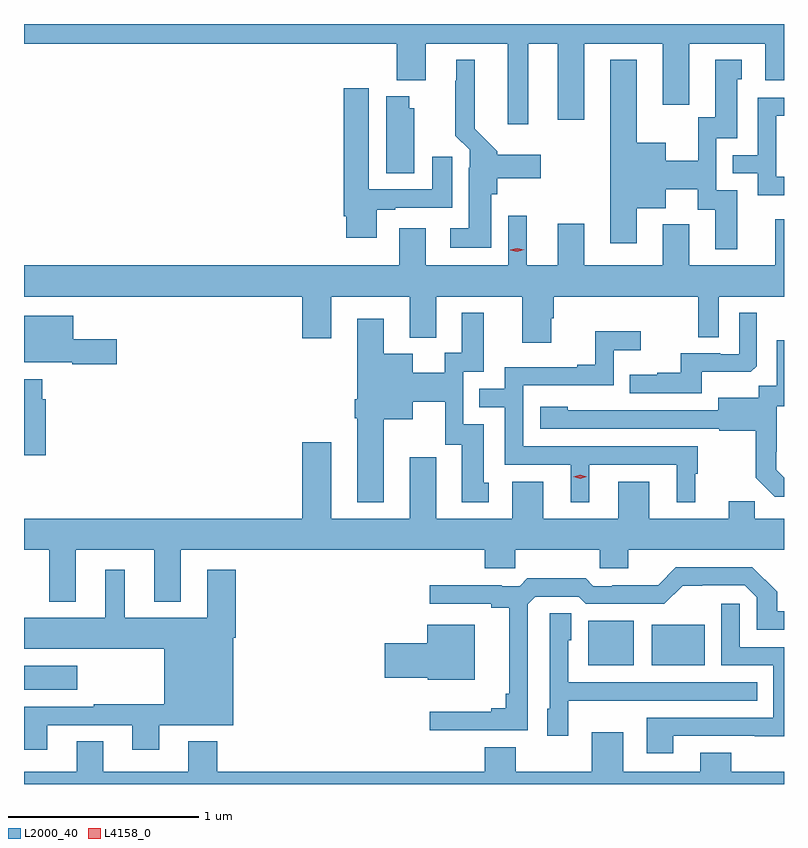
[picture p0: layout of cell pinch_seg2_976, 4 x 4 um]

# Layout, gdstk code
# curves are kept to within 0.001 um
import gdstk
lib = gdstk.Library(unit=1e-6, precision=1e-09)
def R(c, l, rs):  # rectangles x0, y0, x1, y1
    for r in rs: c.add(gdstk.rectangle(r[:2], r[2:], *l))
def P(c, l, *ps):  # polygons
    for p in ps: c.add(gdstk.Polygon(p, *l))
L2000_40 = (2000, 40)
L4158_0 = (4158, 0)

pinch_seg2_976 = lib.new_cell('pinch_seg2_976')
R(pinch_seg2_976, L2000_40, [(133.93,649.562,134.209,649.69), (136.901,649.691,137.14,649.927), (137.234,649.691,137.512,649.906)])
P(pinch_seg2_976, L2000_40, [(137.291,652.641),(137.431,652.641),(137.431,652.964),(137.831,652.964),(137.831,652.77),(137.93,652.77),(137.93,653.067),(133.93,653.067),(133.93,652.964),(135.893,652.964),(135.893,652.772),(136.045,652.772),(136.045,652.964),(136.475,652.964),(136.475,652.539),(136.585,652.539),(136.585,652.964),(136.739,652.964),(136.739,652.563),(136.879,652.563),(136.879,652.964),(137.291,652.964)],
  [(137.683,652.191),(137.574,652.191),(137.574,652.467),(137.683,652.467),(137.683,652.776),(137.707,652.776),(137.707,652.879),(137.567,652.879),(137.567,652.575),(137.478,652.575),(137.478,652.348),(137.308,652.348),(137.308,652.441),(137.155,652.441),(137.155,652.879),(137.015,652.879),(137.015,651.912),(137.155,651.912),(137.155,652.097),(137.308,652.097),(137.308,652.196),(137.477,652.196),(137.477,652.09),(137.567,652.09),(137.567,651.882),(137.683,651.882)],
  [(136.39,652.17),(136.421,652.17),(136.421,652.256),(136.651,652.256),(136.651,652.378),(136.421,652.378),(136.421,652.398),(136.303,652.516),(136.303,652.879),(136.205,652.879),(136.205,652.769),(136.201,652.769),(136.201,652.478),(136.275,652.404),(136.275,652.31),(136.271,652.31),(136.271,651.991),(136.173,651.991),(136.173,651.89),(136.39,651.89)],
  [(135.787,652.089),(135.883,652.089),(135.883,652.101),(136.183,652.101),(136.183,652.369),(136.079,652.369),(136.079,652.197),(135.745,652.197),(135.745,652.729),(135.614,652.729),(135.614,652.054),(135.626,652.054),(135.626,651.942),(135.787,651.942)],
  [(135.985,652.623),(135.958,652.623),(135.958,652.687),(135.836,652.687),(135.836,652.282),(135.985,652.282)],
  [(137.93,652.263),(137.889,652.263),(137.889,652.584),(137.93,652.584),(137.93,652.68),(137.793,652.68),(137.793,652.377),(137.659,652.377),(137.659,652.281),(137.793,652.281),(137.793,652.167),(137.93,652.167)],
  [(136.705,651.519),(136.718,651.519),(136.718,651.632),(137.478,651.632),(137.478,651.418),(137.586,651.418),(137.586,651.632),(137.93,651.632),(137.93,652.039),(137.885,652.039),(137.885,651.796),(137.431,651.796),(137.431,652.012),(137.291,652.012),(137.291,651.796),(136.879,651.796),(136.879,652.015),(136.739,652.015),(136.739,651.796),(136.576,651.796),(136.576,652.057),(136.479,652.057),(136.479,651.796),(136.045,651.796),(136.045,651.991),(135.905,651.991),(135.905,651.796),(133.93,651.796),(133.93,651.632),(135.395,651.632),(135.395,651.414),(135.547,651.414),(135.547,651.632),(135.959,651.632),(135.959,651.416),(136.099,651.416),(136.099,651.632),(136.553,651.632),(136.553,651.39),(136.705,651.39)],
  [(137.497,651.236),(137.755,651.236),(137.787,651.267),(137.787,651.547),(137.694,651.547),(137.694,651.33),(137.594,651.33),(137.594,651.333),(137.387,651.333),(137.387,651.232),(137.263,651.232),(137.263,651.22),(137.119,651.22),(137.119,651.123),(137.497,651.123)],
  [(135.823,650.987),(135.976,650.987),(135.976,651.08),(136.146,651.08),(136.146,650.853),(136.235,650.853),(136.235,650.55),(136.375,650.55),(136.375,650.652),(136.351,650.652),(136.351,650.961),(136.242,650.961),(136.242,651.237),(136.351,651.237),(136.351,651.547),(136.235,651.547),(136.235,651.338),(136.145,651.338),(136.145,651.232),(135.976,651.232),(135.976,651.331),(135.823,651.331),(135.823,651.517),(135.683,651.517),(135.683,651.091),(135.671,651.091),(135.671,650.991),(135.683,650.991),(135.683,650.549),(135.823,650.549)],
  [(134.419,651.409),(134.188,651.409),(134.188,651.532),(133.93,651.532),(133.93,651.287),(134.184,651.287),(134.184,651.275),(134.419,651.275)],
  [(136.906,650.748),(137.366,650.748),(137.366,650.549),(137.464,650.549),(137.464,650.7),(137.476,650.7),(137.476,650.844),(136.557,650.844),(136.557,651.165),(137.034,651.165),(137.034,651.35),(137.176,651.35),(137.176,651.449),(136.936,651.449),(136.936,651.274),(136.841,651.274),(136.841,651.261),(136.461,651.261),(136.461,651.147),(136.327,651.147),(136.327,651.051),(136.461,651.051),(136.461,650.748),(136.808,650.748),(136.808,650.549),(136.906,650.549)],
  [(137.93,650.68),(137.89,650.72),(137.89,650.815),(137.892,650.815),(137.892,651.056),(137.93,651.056),(137.93,651.403),(137.891,651.403),(137.891,651.164),(137.796,651.164),(137.796,651.1),(137.585,651.1),(137.585,651.033),(136.791,651.034),(136.791,651.052),(136.647,651.052),(136.647,650.937),(137.589,650.937),(137.589,650.925),(137.781,650.925),(137.781,650.679),(137.881,650.579),(137.93,650.579)],
  [(134.045,651.092),(134.025,651.092),(134.025,651.196),(133.93,651.196),(133.93,650.796),(134.045,650.796)],
  [(134.203,650.3),(134.615,650.3),(134.615,650.027),(134.755,650.027),(134.755,650.3),(136.355,650.3),(136.355,650.202),(136.515,650.202),(136.515,650.3),(136.96,650.3),(136.96,650.202),(137.11,650.202),(137.11,650.3),(137.93,650.3),(137.93,650.464),(137.777,650.464),(137.777,650.555),(137.639,650.555),(137.639,650.464),(137.221,650.464),(137.221,650.659),(137.057,650.659),(137.057,650.464),(136.663,650.464),(136.663,650.659),(136.499,650.659),(136.499,650.464),(136.099,650.464),(136.099,650.788),(135.959,650.788),(135.959,650.464),(135.547,650.464),(135.547,650.866),(135.395,650.866),(135.395,650.464),(133.93,650.464),(133.93,650.3),(134.063,650.3),(134.063,650.027),(134.203,650.027)],
  [(136.581,650.013),(136.62,650.052),(136.851,650.052),(136.887,650.016),(137.301,650.016),(137.396,650.111),(137.724,650.112),(137.787,650.049),(137.787,649.878),(137.93,649.878),(137.93,649.975),(137.895,649.975),(137.895,650.078),(137.764,650.208),(137.361,650.208),(137.267,650.114),(137.026,650.114),(137.026,650.109),(136.926,650.109),(136.887,650.149),(136.579,650.149),(136.539,650.109),(136.445,650.109),(136.445,650.114),(136.065,650.114),(136.065,650.016),(136.388,650.016),(136.388,649.994),(136.484,649.994),(136.484,649.543),(136.465,649.543),(136.465,649.466),(136.388,649.466),(136.388,649.447),(136.065,649.447),(136.065,649.35),(136.581,649.35)],
  [(134.053,649.377),(134.501,649.377),(134.501,649.248),(134.641,649.248),(134.641,649.376),(135.031,649.376),(135.031,649.838),(135.044,649.838),(135.044,650.194),(134.894,650.194),(134.894,649.942),(134.461,649.942),(134.461,650.194),(134.357,650.194),(134.357,649.942),(133.93,649.942),(133.93,649.778),(134.669,649.778),(134.669,649.486),(134.296,649.486),(134.296,649.473),(133.93,649.473),(133.93,649.248),(134.053,649.248)],
  [(137.347,649.32),(137.777,649.32),(137.777,649.319),(137.93,649.319),(137.93,649.788),(137.697,649.788),(137.697,650.017),(137.601,650.017),(137.601,649.692),(137.874,649.692),(137.874,649.416),(137.207,649.416),(137.207,649.23),(137.347,649.23)],
  [(136.794,649.505),(137.111,649.505),(137.111,649.506),(137.789,649.506),(137.789,649.602),(136.794,649.602),(136.794,649.824),(136.81,649.824),(136.81,649.967),(136.698,649.967),(136.698,649.464),(136.685,649.464),(136.685,649.32),(136.794,649.32)],
  [(136.303,649.906),(136.052,649.906),(136.052,649.808),(135.828,649.808),(135.828,649.625),(136.056,649.625),(136.056,649.616),(136.303,649.616)],
  [(137.93,649.132),(137.653,649.132),(137.653,649.231),(137.489,649.231),(137.489,649.132),(137.083,649.132),(137.083,649.339),(136.919,649.339),(136.919,649.132),(136.519,649.132),(136.519,649.261),(136.355,649.261),(136.355,649.132),(134.948,649.132),(134.948,649.291),(134.795,649.291),(134.795,649.132),(134.347,649.132),(134.347,649.292),(134.207,649.292),(134.207,649.132),(133.93,649.132),(133.93,649.067),(137.93,649.067)])
P(pinch_seg2_976, L4158_0, [(136.857,650.674),(136.821,650.684),(136.821,650.684),(136.821,650.685),(136.857,650.694),(136.893,650.685),(136.893,650.684),(136.893,650.684)],
  [(136.526,651.868),(136.49,651.877),(136.49,651.878),(136.49,651.878),(136.526,651.888),(136.562,651.879),(136.562,651.879),(136.562,651.878)])

lib.write_gds('pinch_seg2_976.gds')
